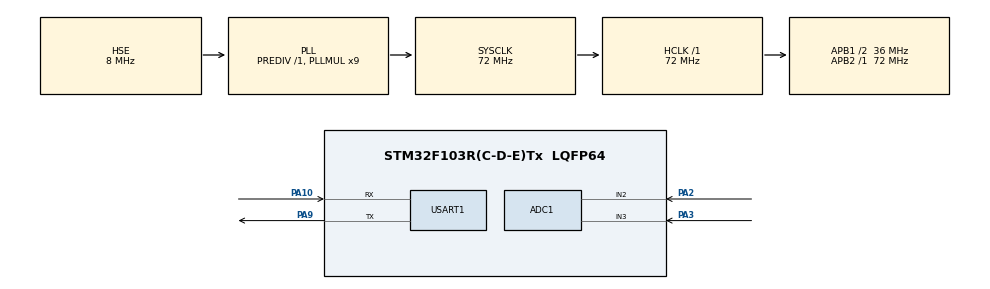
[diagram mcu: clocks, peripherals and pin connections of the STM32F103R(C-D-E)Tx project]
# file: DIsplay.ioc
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ADC1.Channel-1\#ChannelRegularConversion=ADC_CHANNEL_2
ADC1.Channel-3\#ChannelRegularConversion=ADC_CHANNEL_3
ADC1.ContinuousConvMode=ENABLE
ADC1.EnableRegularConversion=ENABLE
ADC1.NbrOfConversion=2
ADC1.NbrOfConversionFlag=1
ADC1.Rank-1\#ChannelRegularConversion=1
ADC1.Rank-3\#ChannelRegularConversion=2
ADC1.SamplingTime-1\#ChannelRegularConversion=ADC_SAMPLETIME_55CYCLES_5
ADC1.SamplingTime-3\#ChannelRegularConversion=ADC_SAMPLETIME_239CYCLES_5
ADC1.master=1
Dma.ADC1.0.Direction=DMA_PERIPH_TO_MEMORY
Dma.ADC1.0.Instance=DMA1_Channel1
Dma.ADC1.0.MemDataAlignment=DMA_MDATAALIGN_HALFWORD
Dma.ADC1.0.MemInc=DMA_MINC_ENABLE
Dma.ADC1.0.Mode=DMA_CIRCULAR
Dma.ADC1.0.PeriphDataAlignment=DMA_PDATAALIGN_HALFWORD
Dma.ADC1.0.PeriphInc=DMA_PINC_DISABLE
Dma.ADC1.0.Priority=DMA_PRIORITY_LOW
Dma.Request0=ADC1
Mcu.Family=STM32F1
Mcu.Name=STM32F103R(C-D-E)Tx
Mcu.Package=LQFP64
NVIC.ADC1_2_IRQn=true\:0\:0\:false\:false\:true\:true\:true\:true
NVIC.DMA1_Channel1_IRQn=true\:0\:0\:false\:false\:true\:false\:true\:true
NVIC.PriorityGroup=NVIC_PRIORITYGROUP_4
NVIC.TIM2_IRQn=true\:0\:0\:false\:false\:true\:true\:true\:true
PA10.Mode=Asynchronous
PA10.Signal=USART1_RX
PA2.Signal=ADCx_IN2
PA3.Signal=ADCx_IN3
PA9.Mode=Asynchronous
PA9.Signal=USART1_TX
PC14-OSC32_IN.Mode=LSE-External-Oscillator
PC14-OSC32_IN.Signal=RCC_OSC32_IN
PC15-OSC32_OUT.Mode=LSE-External-Oscillator
PC15-OSC32_OUT.Signal=RCC_OSC32_OUT
PD0-OSC_IN.Mode=HSE-External-Oscillator
PD0-OSC_IN.Signal=RCC_OSC_IN
PD1-OSC_OUT.Mode=HSE-External-Oscillator
PD1-OSC_OUT.Signal=RCC_OSC_OUT
ProjectManager.HeapSize=0x200
ProjectManager.StackSize=0x400
ProjectManager.TargetToolchain=MDK-ARM V5.32
RCC.ADCPresc=RCC_ADCPCLK2_DIV6
RCC.AHBFreq_Value=72000000
RCC.APB1CLKDivider=RCC_HCLK_DIV2
RCC.APB1Freq_Value=36000000
RCC.APB1TimFreq_Value=72000000
RCC.APB2Freq_Value=72000000
RCC.APB2TimFreq_Value=72000000
RCC.HCLKFreq_Value=72000000
RCC.PLLMUL=RCC_PLL_MUL9
RCC.PLLSourceVirtual=RCC_PLLSOURCE_HSE
RCC.SYSCLKFreq_VALUE=72000000
RCC.SYSCLKSource=RCC_SYSCLKSOURCE_PLLCLK
RCC.USBFreq_Value=72000000
SH.ADCx_IN2.0=ADC1_IN2,IN2
SH.ADCx_IN3.0=ADC1_IN3,IN3
TIM2.AutoReloadPreload=TIM_AUTORELOAD_PRELOAD_ENABLE
TIM2.Period=1000-1
TIM2.Prescaler=72-1
USART1.VirtualMode=VM_ASYNC
VP_SYS_VS_ND.Mode=No_Debug
VP_TIM2_VS_ClockSourceINT.Mode=Internal
board=custom

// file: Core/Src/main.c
/* USER CODE BEGIN Header */
/**
  ******************************************************************************
  * @file           : main.c
  * @brief          : Main program body
  ******************************************************************************
  * @attention
  *
  * Copyright (c) 2023 STMicroelectronics.
  * All rights reserved.
  *
  * This software is licensed under terms that can be found in the LICENSE file
  * in the root directory of this software component.
  * If no LICENSE file comes with this software, it is provided AS-IS.
  *
  ******************************************************************************
  */
/* USER CODE END Header */
#include "main.h"
#include "adc.h"
#include "dma.h"
#include "tim.h"
#include "usart.h"
#include "gpio.h"

/* USER CODE BEGIN Includes */
#include "./lcd/bsp_ili9341_lcd.h"
#include "stdio.h"
#include "task.h"
#include "LedTask.h"
#include "key.h"

/* USER CODE END Includes */

/* USER CODE BEGIN PM */
void LCD_Show(void);
/* USER CODE END PM */

/* USER CODE BEGIN PV */
extern uint16_t lcdid;
/* USER CODE END PV */

void SystemClock_Config(void);

int main(void)
{

  /* MCU Configuration--------------------------------------------------------*/

  /* Reset of all peripherals, Initializes the Flash interface and the Systick. */
  HAL_Init();

  /* Configure the system clock */
  SystemClock_Config();

  /* Initialize all configured peripherals */
  MX_GPIO_Init();
  MX_DMA_Init();
  MX_TIM2_Init();
  MX_USART1_UART_Init();
  MX_ADC1_Init();
  /* USER CODE BEGIN 2 */
	ILI9341_Init ();
  key_gpio_nint();
  /* USER CODE END 2 */

  /* Infinite loop */
  /* USER CODE BEGIN WHILE */

	 if(lcdid == LCDID_ILI9341)
  {
    ILI9341_GramScan ( 5 );
  }
  else if(lcdid == LCDID_ST7789V)
  {
    ILI9341_GramScan ( 0 );
  }
	LCD_Show();
	printf("init ok\r\n");

//  HAL_ADC_Start_IT(&hadc1);
//	ADC_Start();

  update_adc_sampling_frequency(1000);
  while (1)
  {

    if(systick_falg == 1)
    {
      systick_falg = 0;
      Task_Tick();
    }
    if(adc_completed_Flag == 1)
    {
      adc_completed_Flag = 0;
      Data_Progress();
      Drew_sin_wave_Tran();
      data_show();
      ADC_Start();
    }
    // if(adc_Flag == 1 && adc_completed_Flag!= 1)
    // {
    //   adc_Flag = 0;
    //   // ADC_Start();
    // }

    /* USER CODE END WHILE */

  }
}

void SystemClock_Config(void)
{
  RCC_OscInitTypeDef RCC_OscInitStruct = {0};
  RCC_ClkInitTypeDef RCC_ClkInitStruct = {0};
  RCC_PeriphCLKInitTypeDef PeriphClkInit = {0};

  /** Initializes the RCC Oscillators according to the specified parameters
  * in the RCC_OscInitTypeDef structure.
  */
  RCC_OscInitStruct.OscillatorType = RCC_OSCILLATORTYPE_HSE;
  RCC_OscInitStruct.HSEState = RCC_HSE_ON;
  RCC_OscInitStruct.HSEPredivValue = RCC_HSE_PREDIV_DIV1;
  RCC_OscInitStruct.HSIState = RCC_HSI_ON;
  RCC_OscInitStruct.PLL.PLLState = RCC_PLL_ON;
  RCC_OscInitStruct.PLL.PLLSource = RCC_PLLSOURCE_HSE;
  RCC_OscInitStruct.PLL.PLLMUL = RCC_PLL_MUL9;
  if (HAL_RCC_OscConfig(&RCC_OscInitStruct) != HAL_OK)
  {
    Error_Handler();
  }

  /** Initializes the CPU, AHB and APB buses clocks
  */
  RCC_ClkInitStruct.ClockType = RCC_CLOCKTYPE_HCLK|RCC_CLOCKTYPE_SYSCLK
                              |RCC_CLOCKTYPE_PCLK1|RCC_CLOCKTYPE_PCLK2;
  RCC_ClkInitStruct.SYSCLKSource = RCC_SYSCLKSOURCE_PLLCLK;
  RCC_ClkInitStruct.AHBCLKDivider = RCC_SYSCLK_DIV1;
  RCC_ClkInitStruct.APB1CLKDivider = RCC_HCLK_DIV2;
  RCC_ClkInitStruct.APB2CLKDivider = RCC_HCLK_DIV1;

  if (HAL_RCC_ClockConfig(&RCC_ClkInitStruct, FLASH_LATENCY_2) != HAL_OK)
  {
    Error_Handler();
  }
  PeriphClkInit.PeriphClockSelection = RCC_PERIPHCLK_ADC;
  PeriphClkInit.AdcClockSelection = RCC_ADCPCLK2_DIV6;
  if (HAL_RCCEx_PeriphCLKConfig(&PeriphClkInit) != HAL_OK)
  {
    Error_Handler();
  }
}

/* USER CODE BEGIN 4 */
void LCD_Show(void)
{
	ILI9341_BackLed_Control(ENABLE);

	LCD_SetTextColor(WHITE);
	ILI9341_DrawRectangle(0,0,320,240,1);

	LCD_SetColors(BLUE,WHITE);//??
	LCD_SetFont(&Font8x16);
  ILI9341_DrawRectangle(5,5,310,230,0);
	ILI9341_DrawRectangle(6,6,308,228,0);
	ILI9341_DrawLine(6,66,314,66);
	ILI9341_DrawLine(6,36,314,36);
	ILI9341_DrawLine(6,36,314,36);
	ILI9341_DrawLine(108,6,108,66);
	ILI9341_DrawLine(211,6,211,66);
	LCD_SetColors(WHITE,BLUE);

	LCD_SetColors(BLUE,WHITE);//??
	ILI9341_DispString_EN(11,11,"U:");
	ILI9341_DispString_EN(95,11,"V");
	ILI9341_DispString_EN(113,11,"CH1:");
	ILI9341_DrawLine(150,20,200,20);
	LCD_SetColors(RED,WHITE);
	ILI9341_DispString_EN(216,11,"CH2:");
	ILI9341_DrawLine(253,20,303,20);
	LCD_SetColors(BLUE,WHITE);
	ILI9341_DispString_EN(11,41,"Um:");
	ILI9341_DispString_EN(95,41,"V");
	ILI9341_DispString_EN(113,41,"T:");
	ILI9341_DispString_EN(190,41,"ms");
	ILI9341_DispString_EN(216,41,"f:");
	ILI9341_DispString_EN(293,41,"Hz");

	LCD_SetColors(BLUE,WHITE);

	// LCD_SetColors(BLUE,WHITE);//??? ???(16,149)
	// ILI9341_DrawLine(16,71,16,224);//Y?
	// ILI9341_DrawLine(16,224-75,309,224-75);//X?
	// ILI9341_DrawLine(16,71,11,81);//Y???
	// ILI9341_DrawLine(16,71,21,81);
	// ILI9341_DispString_EN(25,71,"Y");
	// ILI9341_DrawLine(309,224-75,299,219-75);//X???
	// ILI9341_DrawLine(309,224-75,299,229-75);
	// ILI9341_DispString_EN(301,203-75,"X");
	// ILI9341_DrawRectangle(24,84,270,140,1);

	LCD_SetColors(BLUE,WHITE);
	LCD_SetFont(&Font16x24);
}
/* USER CODE END 4 */

void Error_Handler(void)
{
  __disable_irq();
  while (1)
  {
  }
}
